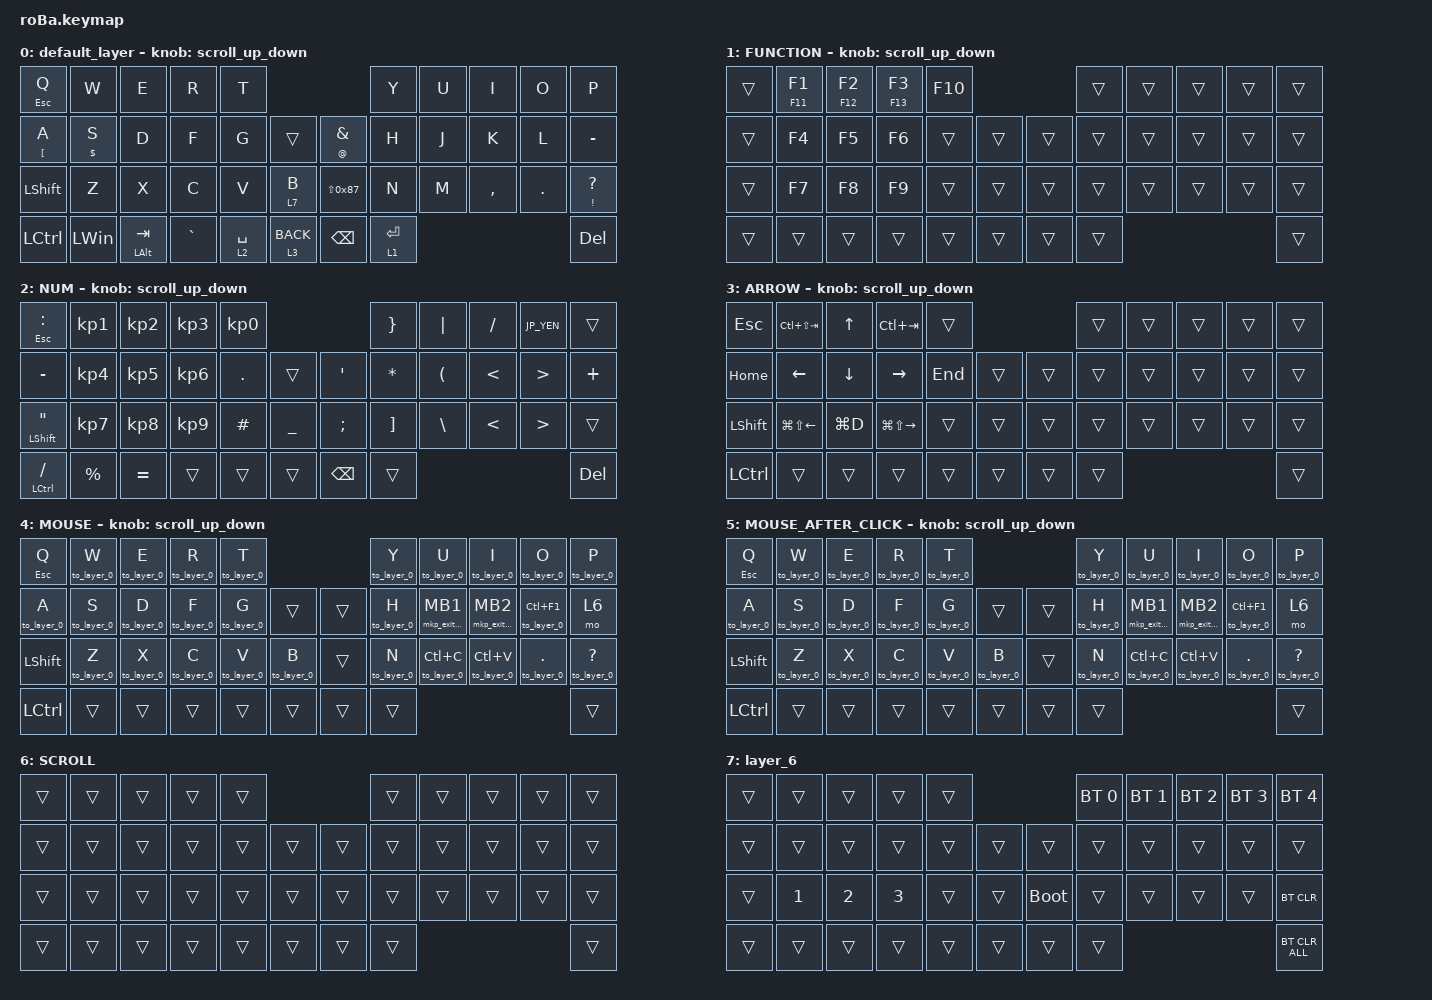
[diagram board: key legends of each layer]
#include <behaviors.dtsi>
#include <dt-bindings/zmk/bt.h>
#include <dt-bindings/zmk/keys.h>
#include <dt-bindings/zmk/pointing.h>

// OS設定を日本語キーボードのまま使用するための変換定義

#define JP_DQUOTE       AT                // "
#define JP_AMPERSAND    CARET             // &
#define JP_QUOTE        AMPERSAND         // '
#define JP_EQUAL        UNDER             // =
#define JP_CARET        EQUAL             // ^
#define JP_YEN          0x89              // ¥
#define JP_PLUS         COLON             // +
#define JP_TILDE        PLUS              // ~
#define JP_PIPE         LS(0x89)          // |
#define JP_AT           LEFT_BRACKET      // @
#define JP_COLON        SINGLE_QUOTE      // :
#define JP_ASTERISK     DOUBLE_QUOTES     // *
#define JP_BACKQUOTE    LEFT_BRACE        // `
#define JP_UNDERSCORE   LS(0x87)          // _
#define JP_LBRACKET     RIGHT_BRACKET     // [
#define JP_RBRACKET     BACKSLASH         // ]
#define JP_LPAREN       ASTERISK          // (
#define JP_RPAREN       LEFT_PARENTHESIS  // )
#define JP_LBRACE       RIGHT_BRACE       // {
#define JP_RBRACE       PIPE              // }
#define JP_KANA         LANGUAGE_1        // かな
#define JP_EISU         LANGUAGE_2        // 英数
#define JP_HANZEN       GRAVE             // 半角/全角
#define ZMK_POINTING_DEFAULT_SCRL_VAL 100

&mt {
    flavor = "balanced";
    quick-tap-ms = <0>;
    bindings = <&kp>, <&kp>;

    tapping-term-ms = <400>;
};

// 長押しの途中で別のキーを押して離したら、その時点でレイヤーを切り替える

&lt {
    flavor = "balanced";
    tapping-term-ms = <400>;
};

&trackball {
    automouse-layer = <4>;
    scroll-layers = <6>;

    // arrows {
    //     layers = <3>;
    //     bindings =
    //         <&kp RIGHT_ARROW>,
    //         <&kp LEFT_ARROW>,
    //         <&kp UP_ARROW>,
    //         <&kp DOWN_ARROW>;
    //     tick = <10>;
    //     wait-ms = <5>;
    //     tap-ms = <5>;
    // };
};

/ {
    macros {
        to_layer_0: to_layer_0 {
            compatible = "zmk,behavior-macro-one-param";
            #binding-cells = <1>;
            bindings = <&to 0 &macro_param_1to1 &kp MACRO_PLACEHOLDER>;
            label = "TO_LAYER_0";
        };

        // クリック後はマウスレイヤー(4)を抜け、代わりに MOUSE_AFTER_CLICK(5) を1秒だけ有効にする。
        // その間にボールを動かすとレイヤー4が再び有効になり、1秒経ってもクリックのまま。

        mkp_exit_AML: mkp_ext_AML {
            compatible = "zmk,behavior-macro-one-param";
            #binding-cells = <1>;
            bindings =
                <&macro_press>,
                <&macro_param_1to1 &mkp MACRO_PLACEHOLDER>,
                <&macro_pause_for_release>,
                <&macro_release>,
                <&macro_param_1to1 &mkp MACRO_PLACEHOLDER>,
                <&macro_tap>,
                <&sl 5 &tog_off 4>;

            label = "MKP_EXIT_AML";
        };
    };

    behaviors {
        // 新しいスクロール動作の追加

        scroll_up_down: behavior_sensor_rotate_mouse_wheel_up_down {
            compatible = "zmk,behavior-sensor-rotate";
            #sensor-binding-cells = <0>;
            bindings = <&msc SCRL_DOWN>, <&msc SCRL_UP>;

            // 追加: スクロールのタップ時間を設定 (20ms)

            tap-ms = <20>;
        };

        lt_to_layer_0: lt_to_layer_0 {
            compatible = "zmk,behavior-hold-tap";
            label = "LAYER_TAP_TO_0";
            bindings = <&mo>, <&to_layer_0>;

            #binding-cells = <2>;
            tapping-term-ms = <200>;
        };

        // B 用。文字キーなので、0.4秒押し続けたときだけレイヤーを切り替える（打鍵中の誤爆防止）

        lt_slow: lt_slow {
            compatible = "zmk,behavior-hold-tap";
            #binding-cells = <2>;
            flavor = "tap-preferred";
            tapping-term-ms = <400>;
            bindings = <&mo>, <&kp>;
            display-name = "Layer-Tap (slow)";
        };

        // Q の位置用。0.4秒押し続けたときだけ Esc（他のキーと重ねて打っても Esc にならない）

        esc_hold: esc_hold {
            compatible = "zmk,behavior-hold-tap";
            #binding-cells = <2>;
            flavor = "tap-preferred";
            tapping-term-ms = <400>;
            bindings = <&kp>, <&kp>;
            display-name = "Esc Hold";
        };

        // マウスレイヤーの Q の位置用。単押しは通常レイヤーに戻って Q を入力

        esc_hold_to0: esc_hold_to0 {
            compatible = "zmk,behavior-hold-tap";
            #binding-cells = <2>;
            flavor = "tap-preferred";
            tapping-term-ms = <400>;
            bindings = <&kp>, <&to_layer_0>;
            display-name = "Esc Hold (exit mouse)";
        };

        tog_off: tog_off {
            compatible = "zmk,behavior-toggle-layer";
            #binding-cells = <1>;
            toggle-mode = "off";
            display-name = "Layer Off";
        };
    };

    keymap {
        compatible = "zmk,keymap";

        default_layer {
            bindings = <
&esc_hold ESCAPE Q  &kp W         &kp E             &kp R          &kp T                                                  &kp Y        &kp U  &kp I      &kp O       &kp P
&mt JP_AT A         &mt DOLLAR S  &kp D             &kp F          &kp G        &trans            &mt JP_DQUOTE JP_QUOTE  &kp H        &kp J  &kp K      &kp L       &kp MINUS
&kp LEFT_SHIFT      &kp Z         &kp X             &kp C          &kp V        &lt_slow 7 B      &kp JP_UNDERSCORE       &kp N        &kp M  &kp COMMA  &kp PERIOD  &mt EXCLAMATION QUESTION
&kp LCTRL           &kp LEFT_WIN  &mt LEFT_ALT TAB  &kp JP_HANZEN  &lt 2 SPACE  &lt 3 K_BACK      &kp BACKSPACE           &lt 1 ENTER                                &kp DEL
            >;

            sensor-bindings = <&scroll_up_down>;
        };

        FUNCTION {
            bindings = <
&trans  &mt F11 F1  &mt F12 F2  &mt F13 F3  &kp F10                      &trans  &trans  &trans  &trans  &trans
&trans  &kp F4      &kp F5      &kp F6      &trans   &trans      &trans  &trans  &trans  &trans  &trans  &trans
&trans  &kp F7      &kp F8      &kp F9      &trans   &trans      &trans  &trans  &trans  &trans  &trans  &trans
&trans  &trans      &trans      &trans      &trans   &trans      &trans  &trans                          &trans
            >;

            sensor-bindings = <&scroll_up_down>;
        };

        NUM {
            bindings = <
&esc_hold ESCAPE JP_PLUS  &kp KP_NUMBER_1  &kp KP_NUMBER_2  &kp KP_NUMBER_3  &kp KP_NUMBER_0                                   &kp JP_LBRACE    &kp JP_RBRACE    &kp SLASH      &kp JP_YEN        &trans
&kp MINUS                 &kp KP_NUMBER_4  &kp KP_NUMBER_5  &kp KP_NUMBER_6  &kp PERIOD       &trans            &kp JP_COLON   &kp JP_LPAREN    &kp JP_RPAREN    &kp LESS_THAN  &kp GREATER_THAN  &kp JP_TILDE
&mt LSHIFT JP_ASTERISK    &kp KP_NUMBER_7  &kp KP_NUMBER_8  &kp KP_NUMBER_9  &kp HASH         &kp JP_EQUAL      &kp SEMICOLON  &kp JP_LBRACKET  &kp JP_RBRACKET  &kp LESS_THAN  &kp GREATER_THAN  &trans
&mt LCTRL SLASH           &kp PERCENT      &kp JP_CARET     &trans           &trans           &trans            &kp BACKSPACE  &trans                                                             &kp DELETE
            >;

            sensor-bindings = <&scroll_up_down>;
        };

        ARROW {
            bindings = <
&kp ESCAPE      &kp LC(LS(TAB))         &kp UP_ARROW    &kp LC(TAB)              &trans                       &trans  &trans  &trans  &trans  &trans
&kp HOME        &kp LEFT_ARROW          &kp DOWN_ARROW  &kp RIGHT_ARROW          &kp END  &trans      &trans  &trans  &trans  &trans  &trans  &trans
&kp LEFT_SHIFT  &kp LG(LS(LEFT_ARROW))  &kp LG(D)       &kp LG(LS(RIGHT_ARROW))  &trans   &trans      &trans  &trans  &trans  &trans  &trans  &trans
&kp LCTRL       &trans                  &trans          &trans                   &trans   &trans      &trans  &trans                          &trans
            >;

            sensor-bindings = <&scroll_up_down>;
        };

        MOUSE {
            bindings = <
&esc_hold_to0 ESCAPE Q  &to_layer_0 W  &to_layer_0 E  &to_layer_0 R  &to_layer_0 T                             &to_layer_0 Y  &to_layer_0 U      &to_layer_0 I      &to_layer_0 O       &to_layer_0 P
&to_layer_0 A           &to_layer_0 S  &to_layer_0 D  &to_layer_0 F  &to_layer_0 G  &trans             &trans  &to_layer_0 H  &mkp_exit_AML MB1  &mkp_exit_AML MB2  &to_layer_0 LC(F1)  &mo 6
&kp LEFT_SHIFT          &to_layer_0 Z  &to_layer_0 X  &to_layer_0 C  &to_layer_0 V  &to_layer_0 B      &trans  &to_layer_0 N  &to_layer_0 LC(C)  &to_layer_0 LC(V)  &to_layer_0 PERIOD  &to_layer_0 QUESTION
&kp LCTRL               &trans         &trans         &trans         &trans         &trans             &trans  &trans                                                                   &trans
            >;

            sensor-bindings = <&scroll_up_down>;
        };

        // クリック直後の1秒間だけ使うレイヤー。中身は MOUSE と同じにしておく。

        MOUSE_AFTER_CLICK {
            bindings = <
&esc_hold_to0 ESCAPE Q  &to_layer_0 W  &to_layer_0 E  &to_layer_0 R  &to_layer_0 T                             &to_layer_0 Y  &to_layer_0 U      &to_layer_0 I      &to_layer_0 O       &to_layer_0 P
&to_layer_0 A           &to_layer_0 S  &to_layer_0 D  &to_layer_0 F  &to_layer_0 G  &trans             &trans  &to_layer_0 H  &mkp_exit_AML MB1  &mkp_exit_AML MB2  &to_layer_0 LC(F1)  &mo 6
&kp LEFT_SHIFT          &to_layer_0 Z  &to_layer_0 X  &to_layer_0 C  &to_layer_0 V  &to_layer_0 B      &trans  &to_layer_0 N  &to_layer_0 LC(C)  &to_layer_0 LC(V)  &to_layer_0 PERIOD  &to_layer_0 QUESTION
&kp LCTRL               &trans         &trans         &trans         &trans         &trans             &trans  &trans                                                                   &trans
            >;

            sensor-bindings = <&scroll_up_down>;
        };

        SCROLL {
            bindings = <
&trans  &trans  &trans  &trans  &trans                      &trans  &trans  &trans  &trans  &trans
&trans  &trans  &trans  &trans  &trans  &trans      &trans  &trans  &trans  &trans  &trans  &trans
&trans  &trans  &trans  &trans  &trans  &trans      &trans  &trans  &trans  &trans  &trans  &trans
&trans  &trans  &trans  &trans  &trans  &trans      &trans  &trans                          &trans
            >;
        };

        layer_6 {
            bindings = <
&trans  &trans        &trans        &trans        &trans                           &bt BT_SEL 0  &bt BT_SEL 1  &bt BT_SEL 2  &bt BT_SEL 3  &bt BT_SEL 4
&trans  &trans        &trans        &trans        &trans  &trans      &trans       &trans        &trans        &trans        &trans        &trans
&trans  &kp NUMBER_1  &kp NUMBER_2  &kp NUMBER_3  &trans  &trans      &bootloader  &trans        &trans        &trans        &trans        &bt BT_CLR
&trans  &trans        &trans        &trans        &trans  &trans      &trans       &trans                                                  &bt BT_CLR_ALL
            >;
        };
    };
};
